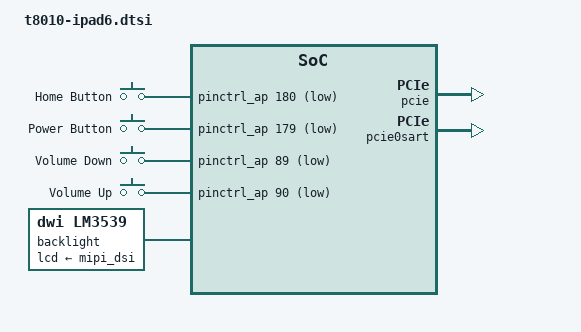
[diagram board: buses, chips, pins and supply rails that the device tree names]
// SPDX-License-Identifier: GPL-2.0+ OR MIT
/*
 * Apple iPad 6 common device tree
 *
 * Copyright (c) 2022, Konrad Dybcio <konradybcio@kernel.org>
 */

#include "t8010.dtsi"
#include "t8010-common.dtsi"
#include <dt-bindings/input/input.h>

/ {
	chassis-type = "tablet";

	gpio-keys {
		compatible = "gpio-keys";

		button-home {
			label = "Home Button";
			gpios = <&pinctrl_ap 180 GPIO_ACTIVE_LOW>;
			linux,code = <KEY_HOMEPAGE>;
			wakeup-source;
		};

		button-power {
			label = "Power Button";
			gpios = <&pinctrl_ap 179 GPIO_ACTIVE_LOW>;
			linux,code = <KEY_POWER>;
			wakeup-source;
		};

		button-voldown {
			label = "Volume Down";
			gpios = <&pinctrl_ap 89 GPIO_ACTIVE_LOW>;
			linux,code = <KEY_VOLUMEDOWN>;
		};

		button-volup {
			label = "Volume Up";
			gpios = <&pinctrl_ap 90 GPIO_ACTIVE_LOW>;
			linux,code = <KEY_VOLUMEUP>;
		};
	};
};

&framebuffer0 {
	power-domains = <&ps_disp0_fe &ps_disp0_be &ps_dp>;
};

&hurricane_opp09 {
	status = "okay";
};

&hurricane_opp10 {
	status = "okay";
};

dwi: dwi@20e200000 {
    compatible = "hx,dwi";
    reg = <0x2 0x0e200000 0x0 0x4000>;
    clocks = <&dwiclk>;
};

mipi_dsi: mipi_dsi@206600000 {
    compatible = "hx,mipi-dsi";
    reg = <0x2 0x06600000 0x0 0x100000   0x2 0x06400000 0x0 0x1000   0x2 0x0e0802c0 0x0 0x4>;
    clocks = <&dsiclk>;
    reset-gpios = <&gpio 172 0>;
    supply-name = "lcd_ldo";
};

i2c0: i2c0@20a110000 {
    compatible = "hx,i2c";
    reg = <0x2 0x0a110000 0x0 0x1000>;
    interrupts = <0 232 4>;
    clocks = <&i2c0clk>;
    pinctrl-0 = <&i2c0_pins>;
    pinctrl-names = "default";
    #address-cells = <0x1>;
    #size-cells = <0x0>;

    disp_pmu: disp_pmu@27 {
        compatible = "hx,pmu-chestnut";
        reg = <0x27>;
        #address-cells = <0x1>;
        #size-cells = <0x0>;

        touch_ldo: touch_ldo@5 {
            compatible = "hx,i2c-pmu-switch";
            reg = <0x5>;
            mask = <0x10>;
            enable = <0x10>;
            supply-name = "mipi_dsi";
        };

        lcd_ldo: lcd_ldo@5 {
            compatible = "hx,i2c-pmu-switch";
            reg = <0x5>;
            mask = <0x0F>;
            enable = <0x0F>;
        };
    };

    backlight: lm3539@62 {
        compatible = "dwi,lm3539";
        reg = <0x62>;
        dwi = <&dwi>;
        lcd-supply = <&mipi_dsi>;
    };
};

i2c1: i2c1@20a111000 {
    compatible = "hx,i2c";
    reg = <0x2 0x0a111000 0x0 0x1000>;
    interrupts = <0 233 4>;
    clocks = <&i2c1clk>;
    pinctrl-0 = <&i2c1_pins>;
    pinctrl-names = "default";
    #address-cells = <0x1>;
    #size-cells = <0x0>;

    pmu: pmu@74 {
        compatible = "hx,pmu-d2333";
        reg = <0x74>;
        #address-cells = <0x1>;
        #size-cells = <0x0>;

        bbram: bbram@5000 {
            compatible = "hx,i2c-pmu-bbram";
            reg = <0x5000>;
            size = <0x40>;
        };

        rtc@502 {
            compatible = "hx,i2c-pmu-rtc";
            reg = <0x502>;
            nvmem = <&bbram>;
            nvmem-offset = <0x4>;
        };

        touch_pwrsw: touch_pwrsw@31f {
            compatible = "hx,i2c-pmu-switch";
            reg = <0x31f>;
            mask = <0x1>;
            enable = <0x1>;
        };

        pmu_gpio: pmu_gpio@900 {
            compatible = "hx,i2c-pmu-gpio";
            reg = <0x900>;
            reg-offs = <0x00 0x02 0x04 0x06 0x08 0x0a 0x0c 0x0e
                        0x10 0x12 0x14 0x16 0x18 0x1a 0x1c 0x1e
                        0x20 0x27 0x2d 0x33 0x39>;
            reg-input = <0x186>;
            bit-outval = <0x01 0x01>;
            bit-direction = <0xc0 0x00 0x80>;

            gpio-controller;
            #gpio-cells = <2>;
            gpio-base = <224>;
    };
};

pcie: pcie@610000000 {
    compatible = "hx,pcie-h9p";
    reg = <0x6 0x10000000 0x0 0x1000000                                                                 /* config */
           0x6 0x00000000 0x0 0x8000   0x6 0x00008000 0x0 0x4000   0x6 0x0a000000 0x0 0x40000           /* PHY and link */
           0x6 0x01000000 0x0 0x4000   0x6 0x02000000 0x0 0x4000                                        /* ports */
           0x6 0x03000000 0x0 0x4000   0x6 0x04000000 0x0 0x4000
           0x6 0x01004000 0x0 0x4000>;                                                                  /* SART */
    interrupt-parent = <&aic>;
    interrupts = <0 270 4   0 273 4   0 276 4   0 279 4                                                 /* state */
                  0 288 1   0 289 1   0 290 1   0 291 1   0 292 1   0 293 1   0 294 1   0 295 1         /* MSI */
                  0 296 1   0 297 1   0 298 1   0 299 1   0 300 1   0 301 1   0 302 1   0 303 1
                  0 304 1   0 305 1   0 306 1   0 307 1   0 308 1   0 309 1   0 310 1   0 311 1
                  0 312 1   0 313 1   0 314 1   0 315 1   0 316 1   0 317 1   0 318 1   0 319 1
                  0 272 1>;                                                                             /* SART */
    clocks = <&pcieclk &pcieauxclk &pcierefclk>;
    clock-names = "core", "aux", "ref";
    pinctrl-0 = <&pcie_clkreq_pins>;
    pinctrl-names = "default";
    perst-gpios = <&gpio 12 0   &gpio 13 0   &gpio 14 0   &gpio 15 0>;
    clkreq-gpios = <&gpio 16 0   &gpio 17 0   &gpio 18 0   &gpio 19 0>;
    debug-gpios = <&gpio 206 0>;
    #address-cells = <3>;
    #size-cells = <2>;
    #interrupt-cells = <1>;
    device_type = "pci";
    msi-controller;
    msi-parent = <&pcie>;
    msi-doorbell = <0x0 0xbffff000>;
    ranges = <0x03000000   0x0 0xc0000000   0x7 0xc0000000 0x0 0x40000000>;
    bus-range = <0x00 0x0f>;
    iommu-map = <0x0000 &pcie0dart 0x8000 0x0100>, /* fake, and should never be used as RC bridges don't DMA */
                <0x0100 &pcie0dart 0x0000 0x0100>,
                <0x0200 &pcie3dart 0x0000 0x0100>;
    sart-regions = <&pcie0sart>;
    sart-map = <1 0 0 0>;
    devpwr-gpios = <&gpio 88 0  &pmu_gpio 10 0>;
    devpwr-on-0 = <>;
    devpwr-on-3 = <0 0   1 0   0 1   1 1>;
};

reboot: reboot@2102b0000 {
    compatible = "hx,reboot";
    reg = <0x2 0x102b0000 0x0 0x4000>;
    nvmem = <&bbram>;
    nvmem-poweroff = <0x1 0xff 0x00   0x2 0xff 0x00   0x3 0xff 0x00   0xf 0xf0 0x90>;
    };
};

reserved-memory {
    #address-cells = <0x2>;
    #size-cells = <0x2>;
    ranges;

    boot_area@800010000 {
        reg = <0x8 0x00010000 0x0 0x00070000>;
    };

    fw_area@87d000000 {
        reg = <0x8 0x7d000000 0x0 0x03000000>;
        no-map;
    };

    pcie0sart: pcie0_sart@87ee00000 {
        compatible = "hx,nvme-scratch";
        reg = <0x8 0x7ee00000 0x0 0x01200000>;
        iova = <0xbc000000>;
        no-map;
    };
};

&i2c0 {
	status = "okay";

	pmic@3c {
		compatible = "apple,angel-pmic", "apple,i2c-pmic";
		reg = <0x3c>;
		#address-cells = <1>;
		#size-cells = <1>;

		rtc@500 {
			compatible = "apple,angel-pmic-rtc", "apple,antigua-pmic-rtc";
			reg = <0x500 0x10>;
			nvmem-cells = <&rtc_offset>;
			nvmem-cell-names = "rtc_offset";
		};

		nvmem@5000 {
			compatible = "apple,pmic-nvmem";
			reg = <0x5000 0x28>;

			nvmem-layout {
				compatible = "fixed-layout";
				#address-cells = <1>;
				#size-cells = <1>;

				rtc_offset: rtc-offset@4 {
					reg = <0x4 0x4>;
				};
			};
		};
	};
};
